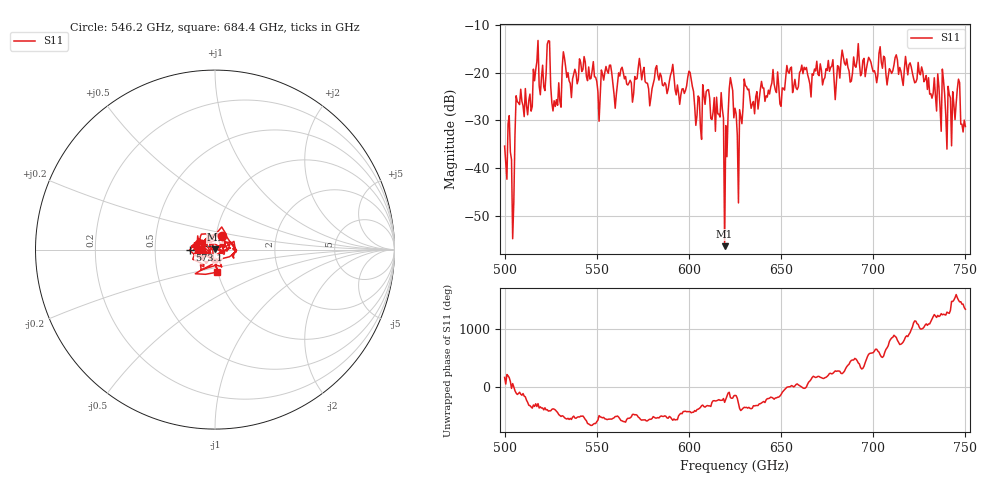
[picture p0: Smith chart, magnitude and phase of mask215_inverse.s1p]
!Created with skrf (http://scikit-rf.org).
# GHz S MA R 50.0
!freq magS11 angS11
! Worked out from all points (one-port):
!   401 points, 500 GHz to 750 GHz, reference 50 ohm
!   lowest |S11| = -56.4 dB at 619.4 GHz (marker M1), VSWR 1.00, Z = 50 + j0.15 ohm
!   |S11| at or under -10 dB: start of sweep to end of sweep
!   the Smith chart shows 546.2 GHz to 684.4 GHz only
!   S11 on the Smith chart (normalised r, x): 546.2 GHz: 1.07, +0.16; 573.1 GHz: 0.75, -0.01; 684.4 GHz: 0.99, -0.25
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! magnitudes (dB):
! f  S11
! 500 GHz  -35.4
! 502.5 GHz  -29.0
! 504.4 GHz  -54.9
! 507.5 GHz  -26.3
! 513.8 GHz  -24.5
! 516.9 GHz  -19.3
! 520.6 GHz  -18.4
! 523.8 GHz  -13.2
! 526.9 GHz  -25.9
! 531.2 GHz  -18.8
! 546.2 GHz  -21.3
! 562.5 GHz  -20.7
! 573.1 GHz  -17.0
! 593.8 GHz  -22.5
! 600.6 GHz  -19.9
! 616.2 GHz  -28.7
! 619.4 GHz  -56.4
! 622.5 GHz  -21.0
! 625 GHz  -27.4
! 627.5 GHz  -27.7
! 631.2 GHz  -22.9
! 656.2 GHz  -24.1
! 684.4 GHz  -17.9
! 687.5 GHz  -21.9
! 718.8 GHz  -20.4
! 741.2 GHz  -24.6
! 746.2 GHz  -21.3
! 750 GHz  -31.3
